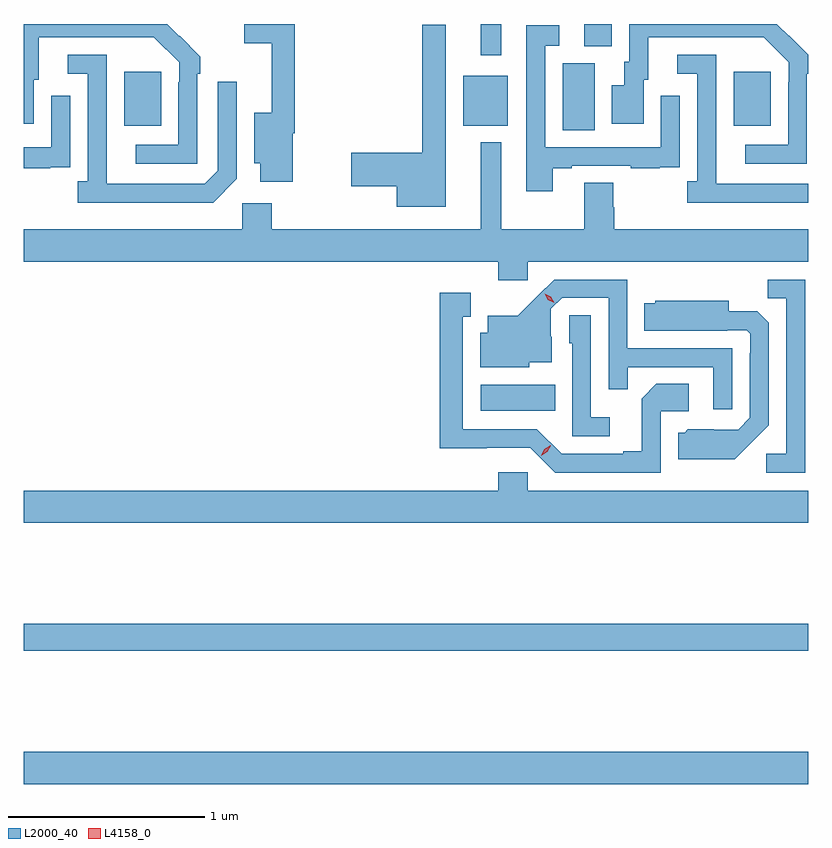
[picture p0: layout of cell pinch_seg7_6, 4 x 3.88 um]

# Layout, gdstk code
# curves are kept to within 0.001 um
import gdstk
lib = gdstk.Library(unit=1e-6, precision=1e-09)
def R(c, l, rs):  # rectangles x0, y0, x1, y1
    for r in rs: c.add(gdstk.rectangle(r[:2], r[2:], *l))
def P(c, l, *ps):  # polygons
    for p in ps: c.add(gdstk.Polygon(p, *l))
L2000_40 = (2000, 40)
L4158_0 = (4158, 0)

pinch_seg7_6 = lib.new_cell('pinch_seg7_6')
R(pinch_seg7_6, L2000_40, [(1033.923,1041.908,1037.923,1042.072), (1033.923,1042.588,1037.923,1042.724), (1036.254,1043.81,1036.634,1043.944), (1036.67,1045.24,1036.834,1045.584), (1034.435,1045.265,1034.623,1045.54), (1036.163,1045.265,1036.39,1045.519), (1037.543,1045.265,1037.731,1045.54), (1036.253,1045.623,1036.357,1045.783), (1036.781,1045.669,1036.921,1045.783)])
P(pinch_seg7_6, L2000_40, [(1034.808,1045.529),(1034.823,1045.529),(1034.823,1045.617),(1034.655,1045.783),(1033.923,1045.783),(1033.923,1045.275),(1033.975,1045.275),(1033.975,1045.5),(1033.999,1045.5),(1033.999,1045.716),(1034.587,1045.716),(1034.715,1045.587),(1034.715,1045.487),(1034.712,1045.487),(1034.712,1045.167),(1034.493,1045.167),(1034.493,1045.071),(1034.808,1045.071)],
  [(1035.294,1045.226),(1035.305,1045.226),(1035.305,1045.783),(1035.048,1045.783),(1035.048,1045.686),(1035.188,1045.686),(1035.188,1045.33),(1035.098,1045.33),(1035.098,1045.073),(1035.128,1045.073),(1035.128,1044.978),(1035.294,1044.978)],
  [(1037.916,1045.529),(1037.923,1045.529),(1037.923,1045.625),(1037.763,1045.783),(1037.01,1045.783),(1037.01,1045.59),(1036.985,1045.59),(1036.985,1045.471),(1036.922,1045.471),(1036.922,1045.275),(1037.083,1045.275),(1037.083,1045.5),(1037.107,1045.5),(1037.107,1045.716),(1037.695,1045.716),(1037.823,1045.587),(1037.823,1045.487),(1037.82,1045.487),(1037.82,1045.167),(1037.601,1045.167),(1037.601,1045.071),(1037.916,1045.071)],
  [(1036.075,1045.78),(1035.954,1045.78),(1035.954,1045.127),(1035.594,1045.127),(1035.594,1044.956),(1035.824,1044.956),(1035.824,1044.851),(1036.075,1044.851)],
  [(1036.621,1045.047),(1036.717,1045.047),(1036.717,1045.059),(1037.017,1045.059),(1037.017,1045.047),(1037.165,1045.047),(1037.165,1045.053),(1037.267,1045.053),(1037.267,1045.162),(1037.268,1045.162),(1037.268,1045.417),(1037.172,1045.417),(1037.172,1045.155),(1036.581,1045.155),(1036.581,1045.671),(1036.654,1045.671),(1036.654,1045.777),(1036.485,1045.777),(1036.485,1044.93),(1036.621,1044.93)],
  [(1037.923,1044.969),(1037.455,1044.969),(1037.455,1045.169),(1037.454,1045.169),(1037.454,1045.626),(1037.256,1045.626),(1037.256,1045.53),(1037.358,1045.53),(1037.358,1044.982),(1037.307,1044.982),(1037.307,1044.872),(1037.923,1044.872)],
  [(1035.009,1044.993),(1035.009,1045.489),(1034.913,1045.489),(1034.913,1045.035),(1034.847,1044.969),(1034.347,1044.969),(1034.346,1045.626),(1034.148,1045.626),(1034.148,1045.53),(1034.25,1045.53),(1034.25,1044.982),(1034.199,1044.982),(1034.199,1044.872),(1034.888,1044.872)],
  [(1034.057,1045.053),(1034.159,1045.053),(1034.159,1045.162),(1034.16,1045.162),(1034.16,1045.417),(1034.064,1045.417),(1034.064,1045.155),(1033.923,1045.155),(1033.923,1045.047),(1034.057,1045.047)],
  [(1036.494,1044.572),(1037.923,1044.572),(1037.923,1044.736),(1036.934,1044.736),(1036.934,1044.849),(1036.929,1044.849),(1036.929,1044.974),(1036.781,1044.974),(1036.781,1044.736),(1036.357,1044.736),(1036.357,1045.18),(1036.253,1045.18),(1036.253,1044.736),(1035.188,1044.736),(1035.188,1044.868),(1035.036,1044.868),(1035.036,1044.736),(1033.923,1044.736),(1033.923,1044.572),(1036.343,1044.572),(1036.343,1044.477),(1036.494,1044.477)],
  [(1037.535,1044.129),(1037.001,1044.129),(1037.001,1044.48),(1036.628,1044.48),(1036.441,1044.295),(1036.289,1044.295),(1036.289,1044.208),(1036.25,1044.208),(1036.25,1044.032),(1036.5,1044.032),(1036.5,1044.059),(1036.615,1044.059),(1036.615,1044.188),(1036.611,1044.188),(1036.611,1044.33),(1036.668,1044.387),(1036.905,1044.387),(1036.905,1043.92),(1037.003,1043.92),(1037.003,1044.033),(1037.439,1044.033),(1037.439,1043.82),(1037.535,1043.82)],
  [(1037.907,1044.48),(1037.716,1044.48),(1037.716,1044.385),(1037.811,1044.385),(1037.811,1043.592),(1037.709,1043.592),(1037.709,1043.496),(1037.907,1043.496)],
  [(1037.172,1043.808),(1037.314,1043.808),(1037.314,1043.948),(1037.149,1043.948),(1037.073,1043.872),(1037.073,1043.605),(1036.979,1043.605),(1036.979,1043.592),(1036.665,1043.592),(1036.539,1043.718),(1036.162,1043.718),(1036.162,1044.291),(1036.201,1044.291),(1036.201,1044.412),(1036.044,1044.412),(1036.044,1043.621),(1036.506,1043.622),(1036.632,1043.496),(1037.172,1043.496)],
  [(1037.629,1043.645),(1037.721,1043.738),(1037.721,1044.26),(1037.662,1044.319),(1037.518,1044.319),(1037.518,1044.373),(1037.142,1044.373),(1037.142,1044.358),(1037.086,1044.358),(1037.086,1044.218),(1037.51,1044.218),(1037.51,1044.222),(1037.61,1044.222),(1037.628,1044.204),(1037.628,1044.104),(1037.625,1044.104),(1037.625,1043.775),(1037.565,1043.715),(1037.308,1043.716),(1037.292,1043.7),(1037.261,1043.7),(1037.261,1043.564),(1037.549,1043.564)],
  [(1036.912,1043.779),(1036.815,1043.779),(1036.815,1044.299),(1036.704,1044.299),(1036.704,1044.156),(1036.719,1044.156),(1036.719,1043.682),(1036.912,1043.682)],
  [(1037.923,1043.404),(1036.494,1043.404),(1036.494,1043.497),(1036.343,1043.497),(1036.343,1043.404),(1033.923,1043.404),(1033.923,1043.24),(1037.923,1043.24)])
P(pinch_seg7_6, L4158_0, [(1036.627,1044.362),(1036.596,1044.378),(1036.579,1044.408),(1036.579,1044.408),(1036.579,1044.408),(1036.61,1044.392),(1036.627,1044.362),(1036.627,1044.362)],
  [(1036.561,1043.581),(1036.561,1043.582),(1036.578,1043.614),(1036.61,1043.634),(1036.61,1043.634),(1036.61,1043.633),(1036.593,1043.601),(1036.561,1043.581)])

lib.write_gds('pinch_seg7_6.gds')
